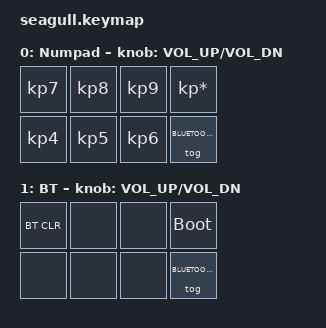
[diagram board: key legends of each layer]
#include <behaviors.dtsi>
#include <dt-bindings/zmk/keys.h>
#include <dt-bindings/zmk/bt.h>
    
#define NUMPAD 0
#define BLUETOOTH 1 

/ {
    keymap {

        compatible = "zmk,keymap";
      
    layer_numpad {
        display-name = "Numpad"; 

    // +---------------------------+                      
    // |   7  |   8  |   9  |   *  |                      
    // +------+------+------+------+
    // |   4  |   5  |   6  |   /  |                      
    // +------+------+------+------+-------+     
    // |   1  |   2  |   3  |   *  | L-BT  |                     
    // +------+------+------+------+-------+    
    // |   0  |   .  |  +   |   =  |                          
    // +------+------+------+------+  
                                        

    bindings = <   

        &kp KP_N7       &kp KP_N8        &kp KP_N9        &kp KP_MULTIPLY
        &kp KP_N4       &kp KP_N5        &kp KP_N6          &tog BLUETOOTH
          
        >;

        sensor-bindings = <&inc_dec_kp C_VOL_UP C_VOL_DN>;
    };

    layer_bluetooth {     
        display-name = "BT"; 
  
    // +---------------------------+                      
    // |CLEAR |      |      |BTLDR |                      
    // +------+------+------+------+
    // |      |      |      |      |                      
    // +------+------+------+------+-------+     
    // | PF1  | PF2  |  PF3 |      | L-BT  |                      
    // +------+------+------+------+-------+    
    // |      |      |      |      |                          
    // +------+------+------+------+     
                                       

    bindings = <   

        &bt BT_CLR      &none         &none           &bootloader
        &none           &none         &none           &tog BLUETOOTH  
            
        >;

        sensor-bindings = <&inc_dec_kp C_VOL_UP C_VOL_DN>;
    };
};
};
